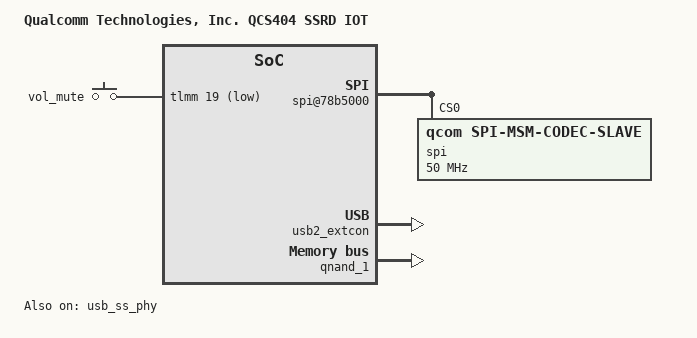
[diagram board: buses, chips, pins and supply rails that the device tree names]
/*
 * Copyright (c) 2018-2019, The Linux Foundation. All rights reserved.
 *
 * This program is free software; you can redistribute it and/or modify
 * it under the terms of the GNU General Public License version 2 and
 * only version 2 as published by the Free Software Foundation.
 *
 * This program is distributed in the hope that it will be useful,
 * but WITHOUT ANY WARRANTY; without even the implied warranty of
 * MERCHANTABILITY or FITNESS FOR A PARTICULAR PURPOSE.  See the
 * GNU General Public License for more details.
 */

/dts-v1/;

#include "qcs403.dtsi"
#include "qcs404-csra1-audio-overlay.dtsi"
#include "qcs405-circular-pca9956.dtsi"

/ {
	model = "Qualcomm Technologies, Inc. QCS404 SSRD IOT";
	compatible = "qcom,qcs403-iot", "qcom,qcs403", "qcom,iot";
	qcom,msm-id = <352 0x0>;
	qcom,board-id = <0x010020 0x4>;

};

&soc {
	/delete-node/ qcom,msm-cpufreq;
	
	msm_cpufreq: qcom,msm-cpufreq {
                compatible = "qcom,msm-cpufreq";
                clock-names = "cpu0_clk";
                clocks = <&clock_cpu APCS_MUX_CLK>;

                qcom,cpufreq-table =
                         < 1094400 >,
                         < 1248000 >;
        };

	/delete-node/ qcom,cpu0-computemon;

	cpu0_computemon: qcom,cpu0-computemon {
                compatible = "qcom,arm-cpu-mon";
                qcom,cpulist = <&CPU0 &CPU1 &CPU2 &CPU3>;
                qcom,target-dev = <&cpu0_cpu_ddr_latfloor>;
                qcom,core-dev-table =
                        < 1094400 MHZ_TO_MBPS( 297, 8) >,
                        < 1248000 MHZ_TO_MBPS( 597, 8) >;
        };

	spi@78b5000 {
		status = "ok";
		spi@0 {
			compatible = "qcom,spi-msm-codec-slave";
			reg = <0>;
			spi-max-frequency = <50000000>;
		};
	};

	gpio_keys {
		vol_mute {
			gpios = <&tlmm 19 GPIO_ACTIVE_LOW>;
		};
	};
};

&qnand_1 {
	status = "ok";
};

&soc {
	usb2_extcon: usb2_extcon {
		compatible = "linux,extcon-usb-gpio";
		vbus-gpio = <&tlmm 27 GPIO_ACTIVE_HIGH>;

		pinctrl-names = "default";
		pinctrl-0 = <&usb2_ssrd_det_default>;
	};
};

&usb2s {
	extcon = <&usb2_extcon>;
};

&usb3 {
	status = "disabled";
};

&usb_ss_phy {
	status = "ok";
	qcom,keep-powerdown;
};

&usb2_phy1 {
	status = "disabled";
};

&tlmm {
	evb_tlmm_gpio_key{
		tlmm_gpio_key_active: tlmm_gpio_key_active {
			mux {
				pins = "gpio19","gpio52","gpio54","gpio115";
			};

			config {
				pins = "gpio19","gpio52","gpio54","gpio115";
			};
		};

		tlmm_gpio_key_suspend: tlmm_gpio_key_suspend {
			mux {
				pins = "gpio19","gpio52","gpio54","gpio115";
			};

			config {
				pins = "gpio19","gpio52","gpio54","gpio115";
			};
		};
	};
};
